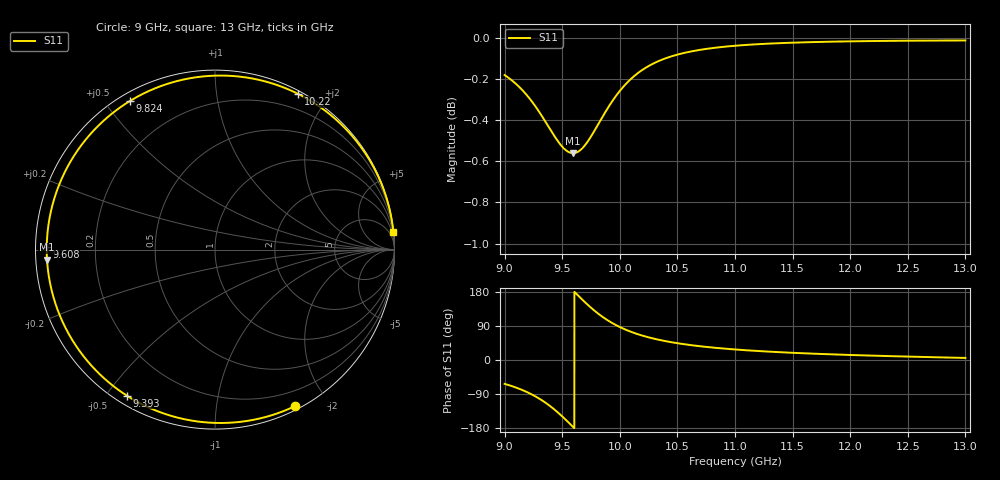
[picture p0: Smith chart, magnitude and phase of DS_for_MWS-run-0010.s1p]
! TOUCHSTONE file generated by CST DESIGN STUDIO
! Date and time: Tue Feb  4 13:36:45 2025
! Project name: C:\Work\MatlabApps\UnitCellOptimizationMatlab\CST\unitcell.cst
! Tree item: Tasks\Sweep1\SPara1\S-Parameters
! Header version: 2024
! Port assignment regex: !\s*Touchstone port\s*([0-9]+)\s*=\s*(CST MWS port|CST DES external port|CST DES block port)\s*(.+)\s* \(\"(.*)\"\)(\s*mode\s*([0-9]+))?.*
! Touchstone port assignment:
! Touchstone port 1 = CST DES external port 1 ("")
# GHz S MA R 50
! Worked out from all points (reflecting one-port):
!   4001 points, 9 GHz to 13 GHz, reference 50 ohm
!   lowest |S11| = -0.6 dB at 9.594 GHz (marker M1), VSWR 31.02, Z = 1.61 - j1.49 ohm
!   phase of S11 starts at -63 deg and turns -292 deg over the sweep
!   S11 on the Smith chart (normalised r, x): 9 GHz: 0.04, -1.63; 9.393 GHz: 0.03, -0.56; 9.608 GHz: 0.03, +0.01; 9.824 GHz: 0.03, +0.58; 10.22 GHz: 0.03, +1.67; 13 GHz: 0, +21
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9  0.9794 -63.0
9.05  0.9772 -67.6
9.12  0.9734 -75.1
9.241  0.9647 -91.6
9.322  0.9574 -106.0
9.393  0.9504 -121.1
9.446  0.9453 -134.2
9.5  0.941 -148.8
9.549  0.9384 -163.0
9.594  0.9375 -176.6
9.608  0.9376 179.2
9.653  0.9389 165.6
9.7  0.9419 151.8
9.762  0.9475 134.8
9.824  0.954 119.7
9.863  0.9582 111.1
9.905  0.9624 102.8
10  0.9708 87.0
10.107  0.9779 73.3
10.224  0.9834 61.9
10.351  0.9875 52.6
10.5  0.9907 44.3
10.72  0.9936 35.5
11  0.9956 27.8
11.5  0.9973 19.0
12  0.9981 13.2
12.5  0.9984 9.0
13  0.9986 5.5
